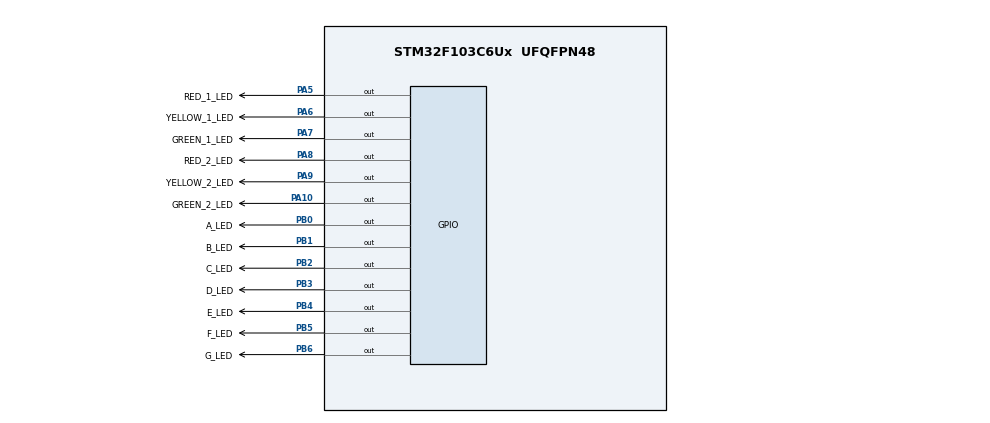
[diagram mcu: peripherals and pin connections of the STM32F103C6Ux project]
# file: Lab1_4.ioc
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Mcu.Family=STM32F1
Mcu.Name=STM32F103C6Ux
Mcu.Package=UFQFPN48
NVIC.PriorityGroup=NVIC_PRIORITYGROUP_4
PA10.GPIO_Label=GREEN_2_LED
PA10.Signal=GPIO_Output
PA5.GPIO_Label=RED_1_LED
PA5.Signal=GPIO_Output
PA6.GPIO_Label=YELLOW_1_LED
PA6.Signal=GPIO_Output
PA7.GPIO_Label=GREEN_1_LED
PA7.Signal=GPIO_Output
PA8.GPIO_Label=RED_2_LED
PA8.Signal=GPIO_Output
PA9.GPIO_Label=YELLOW_2_LED
PA9.Signal=GPIO_Output
PB0.GPIO_Label=A_LED
PB0.Signal=GPIO_Output
PB1.GPIO_Label=B_LED
PB1.Signal=GPIO_Output
PB2.GPIO_Label=C_LED
PB2.Signal=GPIO_Output
PB3.GPIO_Label=D_LED
PB3.Signal=GPIO_Output
PB4.GPIO_Label=E_LED
PB4.Signal=GPIO_Output
PB5.GPIO_Label=F_LED
PB5.Signal=GPIO_Output
PB6.GPIO_Label=G_LED
PB6.Signal=GPIO_Output
ProjectManager.HeapSize=0x200
ProjectManager.StackSize=0x400
ProjectManager.TargetToolchain=STM32CubeIDE
RCC.APB1Freq_Value=8000000
RCC.APB2Freq_Value=8000000
VP_SYS_VS_ND.Mode=No_Debug
board=custom

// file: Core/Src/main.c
/* USER CODE BEGIN Header */
/**
  ******************************************************************************
  * @file           : main.c
  * @brief          : Main program body
  ******************************************************************************
  * @attention
  *
  * <h2><center>&copy; Copyright (c) 2025 STMicroelectronics.
  * All rights reserved.</center></h2>
  *
  * This software component is licensed by ST under BSD 3-Clause license,
  * the "License"; You may not use this file except in compliance with the
  * License. You may obtain a copy of the License at:
  *                        opensource.org/licenses/BSD-3-Clause
  *
  ******************************************************************************
  */
/* USER CODE END Header */
#include "main.h"

/* USER CODE BEGIN PD */
#define INIT 0
#define RED 1
#define GREEN 2
#define YELLOW 3

#define ON 0
#define OFF 1
/* USER CODE END PD */

void SystemClock_Config(void);
static void MX_GPIO_Init(void);
/* USER CODE BEGIN PFP */
void a_led(uint8_t n);
void b_led(uint8_t n);
void c_led(uint8_t n);
void d_led(uint8_t n);
void e_led(uint8_t n);
void f_led(uint8_t n);
void g_led(uint8_t n);
void display7SEG(int num);

void red_1_led(uint8_t n);
void yellow_1_led(uint8_t n);
void green_1_led(uint8_t n);
void red_2_led(uint8_t n);
void yellow_2_led(uint8_t n);
void green_2_led(uint8_t n);
void rgy_control(
    uint8_t colour,
	uint8_t* pstate,
	uint16_t* pcount,
    void (*red_led)(uint8_t),
    void (*yellow_led)(uint8_t),
    void (*green_led)(uint8_t)
);

/* USER CODE END PFP */

int main(void)
{

  /* MCU Configuration--------------------------------------------------------*/

  /* Reset of all peripherals, Initializes the Flash interface and the Systick. */
  HAL_Init();

  /* Configure the system clock */
  SystemClock_Config();

  /* Initialize all configured peripherals */
  MX_GPIO_Init();
  /* USER CODE BEGIN 2 */
		uint16_t count = 100;
		int num_counter = 0;
		uint8_t state[2] = {INIT, INIT};
		uint16_t arr_count[2] = {100, 100};
  /* USER CODE END 2 */

  /* Infinite loop */
  /* USER CODE BEGIN WHILE */
  while (1)
  {
	  	rgy_control(RED, &state[0], &arr_count[0], red_1_led, yellow_1_led, green_1_led);
	  	rgy_control(GREEN, &state[1], &arr_count[1], red_2_led, yellow_2_led, green_2_led);
		if(count == 0){
			count = 100;
			++num_counter;
		}

		if(num_counter == 10) num_counter = 0;

		display7SEG(num_counter);
		--count;

		HAL_Delay(10);
    /* USER CODE END WHILE */

  }
}

void SystemClock_Config(void)
{
  RCC_OscInitTypeDef RCC_OscInitStruct = {0};
  RCC_ClkInitTypeDef RCC_ClkInitStruct = {0};

  /** Initializes the RCC Oscillators according to the specified parameters
  * in the RCC_OscInitTypeDef structure.
  */
  RCC_OscInitStruct.OscillatorType = RCC_OSCILLATORTYPE_HSI;
  RCC_OscInitStruct.HSIState = RCC_HSI_ON;
  RCC_OscInitStruct.HSICalibrationValue = RCC_HSICALIBRATION_DEFAULT;
  RCC_OscInitStruct.PLL.PLLState = RCC_PLL_NONE;
  if (HAL_RCC_OscConfig(&RCC_OscInitStruct) != HAL_OK)
  {
    Error_Handler();
  }
  /** Initializes the CPU, AHB and APB buses clocks
  */
  RCC_ClkInitStruct.ClockType = RCC_CLOCKTYPE_HCLK|RCC_CLOCKTYPE_SYSCLK
                              |RCC_CLOCKTYPE_PCLK1|RCC_CLOCKTYPE_PCLK2;
  RCC_ClkInitStruct.SYSCLKSource = RCC_SYSCLKSOURCE_HSI;
  RCC_ClkInitStruct.AHBCLKDivider = RCC_SYSCLK_DIV1;
  RCC_ClkInitStruct.APB1CLKDivider = RCC_HCLK_DIV1;
  RCC_ClkInitStruct.APB2CLKDivider = RCC_HCLK_DIV1;

  if (HAL_RCC_ClockConfig(&RCC_ClkInitStruct, FLASH_LATENCY_0) != HAL_OK)
  {
    Error_Handler();
  }
}

static void MX_GPIO_Init(void)
{
  GPIO_InitTypeDef GPIO_InitStruct = {0};

  /* GPIO Ports Clock Enable */
  __HAL_RCC_GPIOA_CLK_ENABLE();
  __HAL_RCC_GPIOB_CLK_ENABLE();

  /*Configure GPIO pin Output Level */
  HAL_GPIO_WritePin(GPIOA, RED_1_LED_Pin|YELLOW_1_LED_Pin|GREEN_1_LED_Pin|RED_2_LED_Pin
                          |YELLOW_2_LED_Pin|GREEN_2_LED_Pin, GPIO_PIN_RESET);

  /*Configure GPIO pin Output Level */
  HAL_GPIO_WritePin(GPIOB, A_LED_Pin|B_LED_Pin|C_LED_Pin|D_LED_Pin
                          |E_LED_Pin|F_LED_Pin|G_LED_Pin, GPIO_PIN_RESET);

  /*Configure GPIO pins : RED_1_LED_Pin YELLOW_1_LED_Pin GREEN_1_LED_Pin RED_2_LED_Pin
                           YELLOW_2_LED_Pin GREEN_2_LED_Pin */
  GPIO_InitStruct.Pin = RED_1_LED_Pin|YELLOW_1_LED_Pin|GREEN_1_LED_Pin|RED_2_LED_Pin
                          |YELLOW_2_LED_Pin|GREEN_2_LED_Pin;
  GPIO_InitStruct.Mode = GPIO_MODE_OUTPUT_PP;
  GPIO_InitStruct.Pull = GPIO_NOPULL;
  GPIO_InitStruct.Speed = GPIO_SPEED_FREQ_LOW;
  HAL_GPIO_Init(GPIOA, &GPIO_InitStruct);

  /*Configure GPIO pins : A_LED_Pin B_LED_Pin C_LED_Pin D_LED_Pin
                           E_LED_Pin F_LED_Pin G_LED_Pin */
  GPIO_InitStruct.Pin = A_LED_Pin|B_LED_Pin|C_LED_Pin|D_LED_Pin
                          |E_LED_Pin|F_LED_Pin|G_LED_Pin;
  GPIO_InitStruct.Mode = GPIO_MODE_OUTPUT_PP;
  GPIO_InitStruct.Pull = GPIO_NOPULL;
  GPIO_InitStruct.Speed = GPIO_SPEED_FREQ_LOW;
  HAL_GPIO_Init(GPIOB, &GPIO_InitStruct);

}

/* USER CODE BEGIN 4 */
void red_1_led(uint8_t n) {
	HAL_GPIO_WritePin(RED_1_LED_GPIO_Port, RED_1_LED_Pin, n);
}
void yellow_1_led(uint8_t n) {
	HAL_GPIO_WritePin(YELLOW_1_LED_GPIO_Port, YELLOW_1_LED_Pin, n);
}
void green_1_led(uint8_t n) {
	HAL_GPIO_WritePin(GREEN_1_LED_GPIO_Port, GREEN_1_LED_Pin, n);
}
void red_2_led(uint8_t n) {
	HAL_GPIO_WritePin(RED_2_LED_GPIO_Port, RED_2_LED_Pin, n);
}
void yellow_2_led(uint8_t n) {
	HAL_GPIO_WritePin(YELLOW_2_LED_GPIO_Port, YELLOW_2_LED_Pin, n);
}
void green_2_led(uint8_t n) {
	HAL_GPIO_WritePin(GREEN_2_LED_GPIO_Port, GREEN_2_LED_Pin, n);
}
void rgy_control(
    uint8_t colour,
	uint8_t* pstate,
	uint16_t* pcount,
    void (*red_led)(uint8_t),
    void (*yellow_led)(uint8_t),
    void (*green_led)(uint8_t)
){

	  switch(*pstate){
	  case INIT:
		  red_led(ON);
		  green_led(ON);
		  yellow_led(ON);

		  if(*pcount == 0){
			  *pstate = colour;
			  switch(colour){
			  case RED:
				  *pcount = 500;
				  break;
			  case GREEN:
				  *pcount = 300;
				  break;
			  case YELLOW:
				  *pcount = 200;
				  break;
			  }
		  }
		  break;
	  case RED:
		  red_led(ON);
		  green_led(OFF);
		  yellow_led(OFF);

		  if(*pcount == 0){
			  *pstate = GREEN;
			  *pcount = 300;
		  }
		  break;
	  case GREEN:
		  red_led(OFF);
		  green_led(ON);
		  yellow_led(OFF);

		  if(*pcount == 0){
			  *pstate = YELLOW;
			  *pcount = 200;
		  }
		  break;
	  case YELLOW:
		  red_led(OFF);
		  green_led(OFF);
		  yellow_led(ON);

		  if(*pcount == 0){
			  *pstate = RED;
			  *pcount = 500;
		  }
		  break;

	  }
	  --*pcount;

}

void a_led(uint8_t n){
	HAL_GPIO_WritePin(A_LED_GPIO_Port, A_LED_Pin, n);
}
void b_led(uint8_t n){
	HAL_GPIO_WritePin(B_LED_GPIO_Port, B_LED_Pin, n);
}
void c_led(uint8_t n){
	HAL_GPIO_WritePin(C_LED_GPIO_Port, C_LED_Pin, n);
}
void d_led(uint8_t n){
	HAL_GPIO_WritePin(D_LED_GPIO_Port, D_LED_Pin, n);
}
void e_led(uint8_t n){
	HAL_GPIO_WritePin(E_LED_GPIO_Port, E_LED_Pin, n);
}
void f_led(uint8_t n){
	HAL_GPIO_WritePin(F_LED_GPIO_Port, F_LED_Pin, n);
}
void g_led(uint8_t n){
	HAL_GPIO_WritePin(G_LED_GPIO_Port, G_LED_Pin, n);
}
void display7SEG(int num){

	switch(num % 10){
	case 0:
		a_led(ON);
		b_led(ON);
		c_led(ON);
		d_led(ON);
		e_led(ON);
		f_led(ON);
		g_led(OFF);
		break;
	case 1:
		a_led(OFF);
		b_led(ON);
		c_led(ON);
		d_led(OFF);
		e_led(OFF);
		f_led(OFF);
		g_led(OFF);
		break;
	case 2:
		a_led(ON);
		b_led(ON);
		c_led(OFF);
		d_led(ON);
		e_led(ON);
		f_led(OFF);
		g_led(ON);
		break;
	case 3:
		a_led(ON);
		b_led(ON);
		c_led(ON);
		d_led(ON);
		e_led(OFF);
		f_led(OFF);
		g_led(ON);
		break;
	case 4:
		a_led(OFF);
		b_led(ON);
		c_led(ON);
		d_led(OFF);
		e_led(OFF);
		f_led(ON);
		g_led(ON);
		break;
	case 5:
		a_led(ON);
		b_led(OFF);
		c_led(ON);
		d_led(ON);
		e_led(OFF);
		f_led(ON);
		g_led(ON);
		break;
	case 6:
		a_led(ON);
		b_led(OFF);
		c_led(ON);
		d_led(ON);
		e_led(ON);
		f_led(ON);
		g_led(ON);
		break;
	case 7:
		a_led(ON);
		b_led(ON);
		c_led(ON);
		d_led(OFF);
		e_led(OFF);
		f_led(OFF);
		g_led(OFF);
		break;
	case 8:
		a_led(ON);
		b_led(ON);
		c_led(ON);
		d_led(ON);
		e_led(ON);
		f_led(ON);
		g_led(ON);
		break;
	case 9:
		a_led(ON);
		b_led(ON);
		c_led(ON);
		d_led(ON);
		e_led(OFF);
		f_led(ON);
		g_led(ON);
		break;
	default:
		break;

	}
}

/* USER CODE END 4 */

void Error_Handler(void)
{
  __disable_irq();
  while (1)
  {
  }
}

/************************ (C) COPYRIGHT STMicroelectronics *****END OF FILE****/
